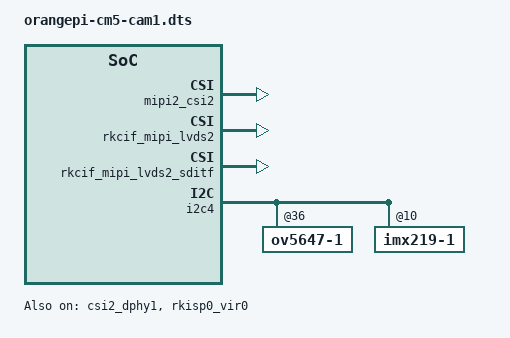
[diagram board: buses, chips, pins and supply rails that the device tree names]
/dts-v1/;
/plugin/;

/ {
	fragment@0 {
		target = <&csi2_dphy1>;

		__overlay__ {
			status = "okay";
		};
	};

	fragment@1 {
		target = <&mipi2_csi2>;

		__overlay__ {
			status = "okay";
		};
	};

	fragment@2 {
		target = <&rkcif_mipi_lvds2>;

		__overlay__ {
			status = "okay";
		};
	};

	fragment@3 {
		target = <&rkcif_mipi_lvds2_sditf>;

		__overlay__ {
			status = "okay";
		};
	};

	fragment@4 {
		target = <&rkisp0_vir0>;

		__overlay__ {
			status = "okay";
		};
	};

	fragment@5 {
		target = <&i2c4>;

		__overlay__ {
			status = "okay";

			ov5647-1@36 {
				status = "okay";
			};

			imx219-1@10 {
				status = "okay";
			};
		};
	};
};
